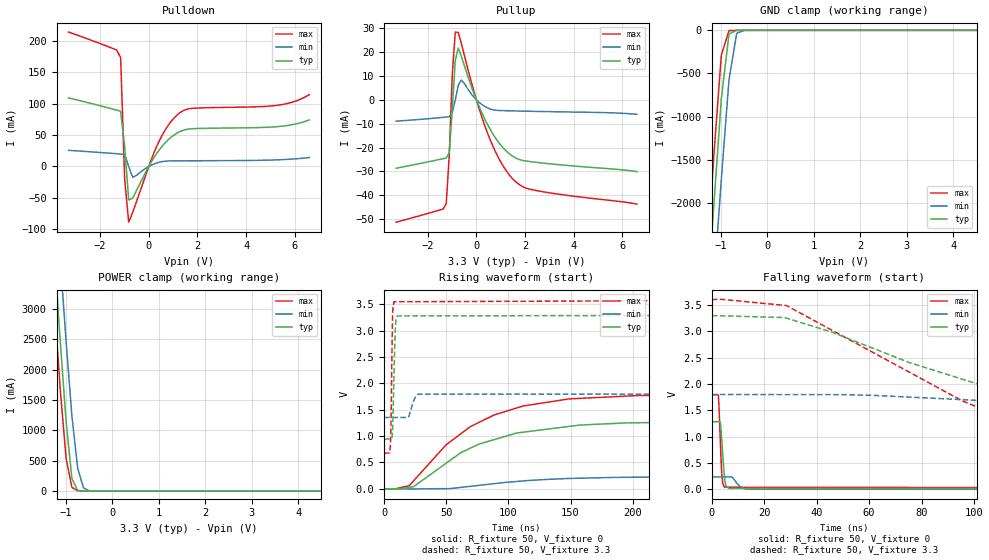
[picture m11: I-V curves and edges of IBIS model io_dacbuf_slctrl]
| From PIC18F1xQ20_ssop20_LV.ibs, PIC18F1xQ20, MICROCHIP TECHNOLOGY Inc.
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[Model] io_dacbuf_slctrl
Model_type I/O
Vinl  =  0.8
Vinh  =  2
| Capacitance   typ   min   max
C_comp   4.088616676252255e-12   4.083241909458624e-12   4.324939492441876e-12
[Model Spec]
| Subparameter   typ   min   max
Vinl   1.5   0.81   1.65
Vinh   3.6   1.89   3.85
Vmeas   2.5   1.35   2.75
| Variables   typ   min   max
[GND Clamp Reference]   0   0   0
[POWER Clamp Reference]   3.3   1.8   3.6
[Pulldown Reference]   0   0   0
[Pullup Reference]   3.3   1.8   3.6
[Temperature Range]   25   125   -40
[Voltage Range]   3.3   1.8   3.6
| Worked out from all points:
|   slope of the pulldown table from 0 to 0.495 V, typ, clamps not added: 16.7 ohm
|   slope of the pullup table from 0 to 0.495 V, typ, clamps not added: 44.8 ohm
|   GND clamp passes 1 mA (typ) near -0.66 V on its own axis
|   POWER clamp passes 1 mA (typ) near -0.62 V on its own axis
|   falling waveform, R_fixture 50, V_fixture 0: 20-80 % time 1.12ns typ, 2.42ns min, 875ps max; typ from 1.28 V to 0 V
|   falling waveform, R_fixture 50, V_fixture 3.3: 20-80 % time 96.5ns typ, 141ns min, 70.3ns max; typ from 3.3 V to 0.94 V
|   rising waveform, R_fixture 50, V_fixture 0: 20-80 % time 65.3ns typ, 69.4ns min, 61.5ns max; typ from 0 V to 1.28 V
|   rising waveform, R_fixture 50, V_fixture 3.3: 20-80 % time 1.53ns typ, 3.79ns min, 1.04ns max; typ from 0.936 V to 3.3 V
[GND Clamp]
| Voltage   I(typ)   I(min)   I(max)
-3.3V     -18.86A    -18.99A    -18.82A
-1.324V   -3.358A    -4.204A    -2.824A
-1.159V   -2.06A     -2.965A    -1.484A
-993.1mV  -793mA     -1.726A    -286.8mA
-827.6mV  -41.38mA   -573.3mA   -3.74mA
-662.1mV  -803.1uA   -33.94mA   -569.9uA
-496.6mV  -22.45uA   -496uA     -6.252uA
6.6V      0A         0A         0A
[POWER Clamp]
| Voltage   I(typ)   I(min)   I(max)
-3.3V     27.14A     27.7A      26.84A
-1.366V   5.229A     6.49A      4.453A
-1.241V   3.831A     5.134A     3.027A
-1.117V   2.441A     3.784A     1.646A
-993.1mV  1.136A     2.454A     529.2mA
-869mV    203.9mA    1.235A     58.4mA
-744.8mV  7.755mA    375.7mA    3.313mA
-620.7mV  778.9uA    50.8mA     915.3uA
-496.6mV  58.9uA     2.688mA    101uA
6.6V      0A         0A         0A
[Pulldown]
| Voltage   I(typ)   I(min)   I(max)
-3.3V     109.4mA    25.68mA    214.5mA
-1.324V   89.88mA    20.27mA    185.9mA
-1.159V   88.12mA    19.77mA    173.8mA
-993.1mV  31.88mA    19.25mA    -20.25mA
-827.6mV  -53.52mA   -38.86uA   -89.02mA
-662.1mV  -50.57mA   -17.43mA   -73.42mA
341.4mV   21.7mA     5.717mA    33.47mA
796.6mV   42.57mA    8.672mA    65.49mA
1.252V    55.15mA    8.913mA    85mA
1.821V    60.27mA    9.023mA    92.84mA
5.286V    63.53mA    10.51mA    97.64mA
6.6V      74.28mA    14.23mA    114.7mA
[Pullup]
| Voltage   I(typ)   I(min)   I(max)
-3.3V     -28.7mA    -8.942mA   -51.33mA
-1.241V   -24.41mA   -7.2mA     -43.58mA
-1.117V   -22.37mA   -7.062mA   -23.61mA
-993.1mV  -4.232mA   -5.311mA   10.35mA
-869mV    16.64mA    -51.77uA   28.44mA
-744.8mV  21.75mA    6.177mA    28.29mA
-620.7mV  18.28mA    8.311mA    23.71mA
455.2mV   -10.29mA   -3.355mA   -13.89mA
1.024V    -19.27mA   -4.499mA   -26.48mA
1.593V    -24.26mA   -4.657mA   -34.17mA
2.503V    -26.27mA   -4.856mA   -38.14mA
6.6V      -30.13mA   -6.092mA   -43.73mA
[Ramp]
dV/dt_r   0.768801/65.3316n  0.139526/69.4477n  1.07649/61.5302n
dV/dt_f   1.41629/96.5257n  0.266533/0.141161u  1.75183/70.3007n
R_load = 50
[Falling Waveform]
R_fixture = 50
V_fixture = 0
V_fixture_min = 0
V_fixture_max = 0
| Time   V(typ)   V(min)   V(max)
0s        1.281V     232.5mV    1.794V
2.561ns   1.282V     232.3mV    1.77V
3.305ns   1.268V     232.3mV    887.7mV
3.862ns   910.9mV    232.2mV    270.8mV
4.181ns   677.6mV    232.2mV    113.6mV
4.869ns   229.8mV    232.1mV    37.41mV
5.491ns   53.18mV    232.1mV    37.37mV
6.597ns   12.99mV    232mV      37.3mV
14.88ns   12.79mV    789.8uV    36.74mV
562.5ns   679.7nV    822.7nV    504.5nV
[Falling Waveform]
R_fixture = 50
V_fixture = 3.3
V_fixture_min = 1.8
V_fixture_max = 3.6
| Time   V(typ)   V(min)   V(max)
0s        3.3V       1.8V       3.6V
28.5ns    3.252V     1.798V     3.49V
95.51ns   2.091V     1.701V     1.679V
114.6ns   1.792V     1.656V     1.289V
130.8ns   1.615V     1.616V     1.063V
147.5ns   1.442V     1.576V     947.2mV
179.4ns   1.198V     1.509V     844.8mV
235ns     1.054V     1.442V     775.7mV
346.1ns   968.2mV    1.382V     708mV
562.5ns   939.5mV    1.356V     680.3mV
[Rising Waveform]
R_fixture = 50
V_fixture = 0
V_fixture_min = 0
V_fixture_max = 0
| Time   V(typ)   V(min)   V(max)
0s        -57.76pV   12.69nV    -70.68pV
20.17ns   27.77mV    -2.673mV   59.03mV
23.63ns   39.32mV    -3.103mV   149.3mV
49.92ns   486mV      3.566mV    835.9mV
61.74ns   686.8mV    26.76mV    1.044V
88.57ns   933.5mV    97.97mV    1.402V
111.8ns   1.074V     149mV      1.571V
148.8ns   1.184V     196.2mV    1.706V
268.8ns   1.275V     229.7mV    1.774V
562.5ns   1.281V     232.5mV    1.794V
[Rising Waveform]
R_fixture = 50
V_fixture = 3.3
V_fixture_min = 1.8
V_fixture_max = 3.6
| Time   V(typ)   V(min)   V(max)
0s        936.3mV    1.353V     678.2mV
5.081ns   951.1mV    1.353V     837mV
5.521ns   952.4mV    1.354V     1.218V
6.766ns   1.119V     1.354V     3.236V
7.862ns   2.08V      1.354V     3.549V
9.166ns   3.115V     1.354V     3.549V
10.7ns    3.281V     1.354V     3.549V
19.25ns   3.281V     1.354V     3.55V
27.61ns   3.281V     1.795V     3.55V
562.5ns   3.3V       1.8V       3.6V
